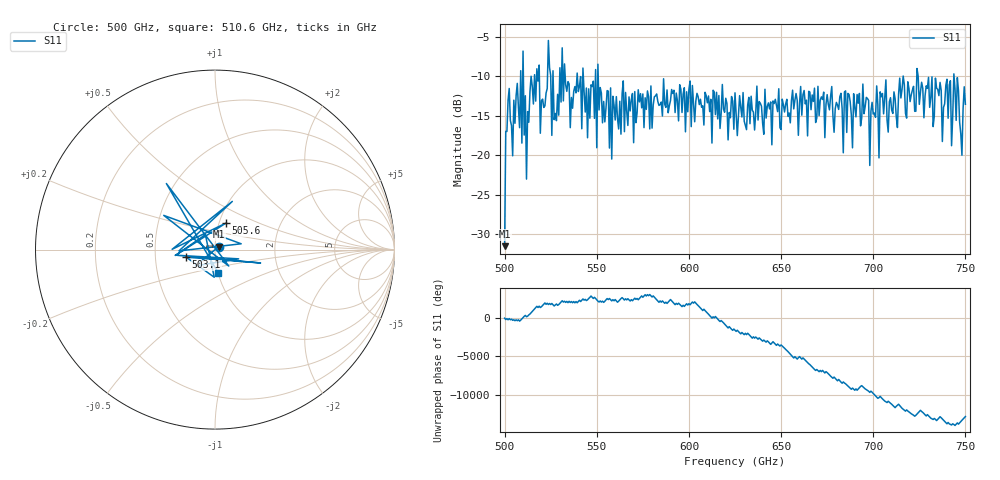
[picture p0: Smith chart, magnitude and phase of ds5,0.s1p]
!Created with skrf (http://scikit-rf.org).
# GHz S RI R 50.0
!freq ReS11 ImS11
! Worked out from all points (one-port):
!   401 points, 500 GHz to 750 GHz, reference 50 ohm
!   lowest |S11| = -31.5 dB at 500 GHz (marker M1), VSWR 1.05, Z = 52.1 + j1.72 ohm
!   |S11| at or under -10 dB: start of sweep to 508.7 GHz; 550.8 GHz to 716.2 GHz (165.4 GHz wide, 26.1 % of centre); 724.4 GHz to 743.7 GHz (19.34 GHz wide, 2.63 % of centre) (the widest 3 of 19)
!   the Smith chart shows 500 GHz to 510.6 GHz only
!   S11 on the Smith chart (normalised r, x): 500 GHz: 1.04, +0.03; 503.1 GHz: 0.72, -0.06; 505.6 GHz: 1.08, +0.33; 510.6 GHz: 1.00, -0.27
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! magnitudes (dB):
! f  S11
! 500 GHz  -31.5
! 501.9 GHz  -13.0
! 503.1 GHz  -15.6
! 505.6 GHz  -15.9
! 510 GHz  -6.8
! 510.6 GHz  -17.4
! 517.5 GHz  -9.0
! 520.6 GHz  -12.9
! 523.8 GHz  -5.5
! 528.1 GHz  -15.6
! 531.2 GHz  -6.4
! 536.2 GHz  -12.7
! 540 GHz  -11.9
! 545 GHz  -17.8
! 548.1 GHz  -10.6
! 562.5 GHz  -13.2
! 593.8 GHz  -13.1
! 625 GHz  -12.1
! 656.2 GHz  -11.8
! 687.5 GHz  -13.2
! 699.4 GHz  -13.3
! 715.6 GHz  -11.6
! 718.8 GHz  -10.7
! 735 GHz  -11.7
! 743.8 GHz  -9.7
! 745 GHz  -15.6
! 747.5 GHz  -17.3
! 750 GHz  -13.5
